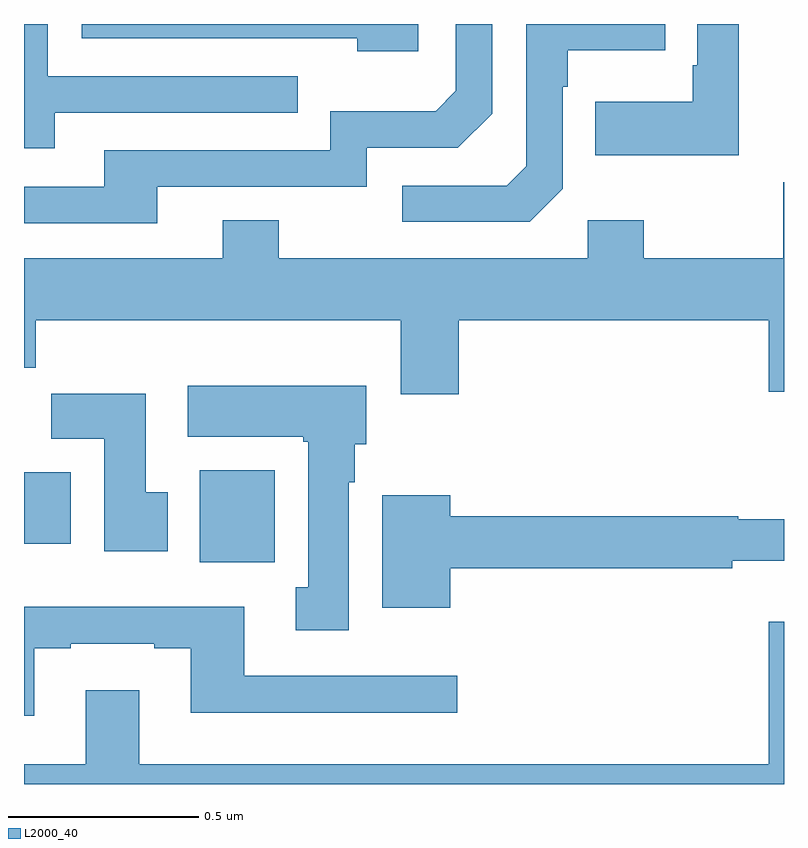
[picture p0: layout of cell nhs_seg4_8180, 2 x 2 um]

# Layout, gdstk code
import gdstk
lib = gdstk.Library(unit=1e-6, precision=1e-09)
def R(c, l, rs):  # rectangles x0, y0, x1, y1
    for r in rs: c.add(gdstk.rectangle(r[:2], r[2:], *l))
def P(c, l, *ps):  # polygons
    for p in ps: c.add(gdstk.Polygon(p, *l))
L2000_40 = (2000, 40)

nhs_seg4_8180 = lib.new_cell('nhs_seg4_8180')
R(nhs_seg4_8180, L2000_40, [(211.463,829.484,211.66,829.726), (211,829.532,211.123,829.72)])
P(nhs_seg4_8180, L2000_40, [(211.351,830.472),(211.902,830.472),(211.902,830.574),(212.142,830.574),(212.232,830.664),(212.232,830.9),(212.136,830.9),(212.136,830.724),(212.083,830.671),(211.806,830.671),(211.806,830.568),(211.211,830.568),(211.211,830.472),(211,830.472),(211,830.376),(211.351,830.376)],
  [(212.881,830.9),(212.772,830.9),(212.772,830.791),(212.76,830.791),(212.76,830.695),(212.503,830.695),(212.503,830.555),(212.881,830.555)],
  [(211.081,830.667),(211.721,830.667),(211.721,830.763),(211.062,830.763),(211.062,830.9),(211,830.9),(211,830.573),(211.081,830.573)],
  [(212.038,830.9),(211.152,830.9),(211.152,830.862),(211.877,830.862),(211.877,830.828),(212.038,830.828)],
  [(212.418,830.466),(212.418,830.735),(212.431,830.735),(212.431,830.831),(212.687,830.831),(212.687,830.9),(212.322,830.9),(212.322,830.526),(212.271,830.475),(211.995,830.475),(211.995,830.379),(212.331,830.379)],
  [(212.144,830.12),(212.96,830.12),(212.96,829.932),(213,829.932),(213,830.483),(212.998,830.483),(212.998,830.284),(212.631,830.284),(212.631,830.383),(212.484,830.383),(212.484,830.284),(211.671,830.284),(211.671,830.383),(211.523,830.383),(211.523,830.284),(211,830.284),(211,829.996),(211.031,829.996),(211.031,830.12),(211.991,830.12),(211.991,829.926),(212.144,829.926)],
  [(211.855,829.694),(211.87,829.694),(211.87,829.794),(211.9,829.794),(211.9,829.948),(211.431,829.948),(211.431,829.814),(211.735,829.814),(211.735,829.801),(211.748,829.801),(211.748,829.418),(211.715,829.418),(211.715,829.305),(211.855,829.305)],
  [(211.378,829.668),(211.321,829.668),(211.321,829.927),(211.072,829.927),(211.072,829.808),(211.211,829.808),(211.211,829.512),(211.378,829.512)],
  [(212.122,829.468),(212.864,829.468),(212.864,829.487),(213,829.487),(213,829.597),(212.88,829.597),(212.88,829.604),(212.122,829.604),(212.122,829.66),(211.943,829.66),(211.943,829.364),(212.122,829.364)],
  [(211.027,829.257),(211.123,829.257),(211.123,829.269),(211.343,829.269),(211.343,829.257),(211.439,829.257),(211.439,829.088),(212.14,829.088),(212.14,829.185),(211.579,829.185),(211.579,829.366),(211,829.366),(211,829.08),(211.027,829.08)],
  [(213,829.327),(212.96,829.327),(212.96,828.952),(211.303,828.952),(211.303,829.147),(211.163,829.147),(211.163,828.952),(211,828.952),(211,828.9),(213,828.9)])

lib.write_gds('nhs_seg4_8180.gds')
